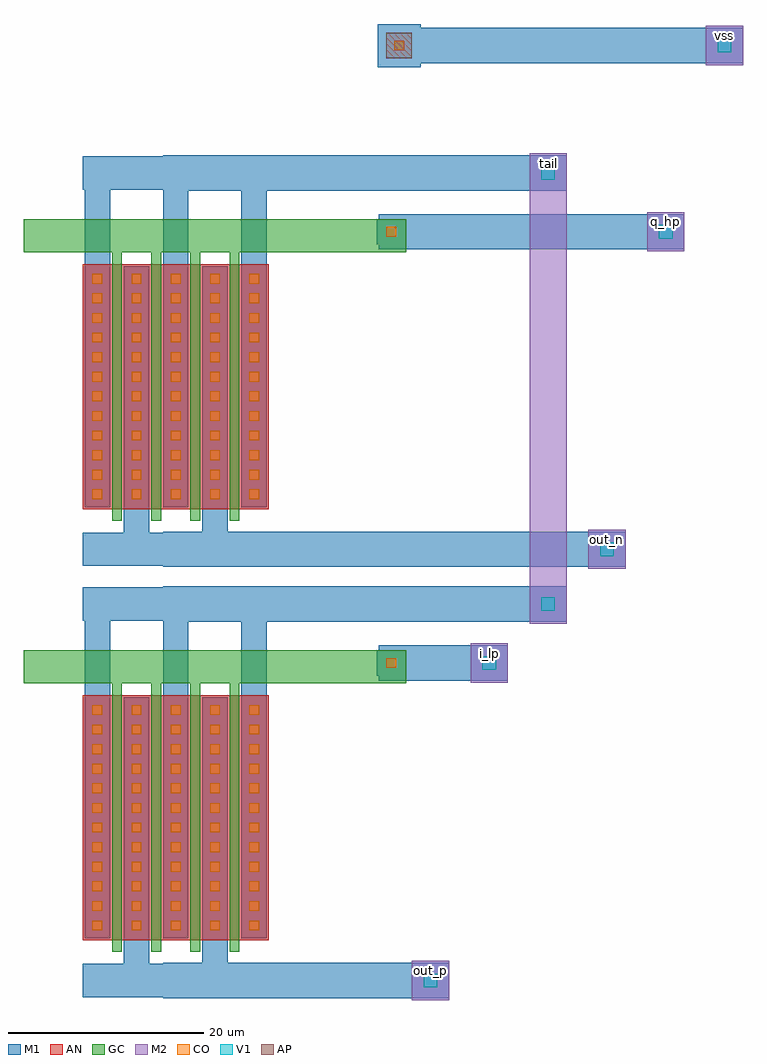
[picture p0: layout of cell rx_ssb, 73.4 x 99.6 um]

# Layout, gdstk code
import gdstk
lib = gdstk.Library(unit=1e-6, precision=1e-09)
def R(c, l, rs):  # rectangles x0, y0, x1, y1
    for r in rs: c.add(gdstk.rectangle(r[:2], r[2:], *l))
def A(c, l, x, y, w, h, nx, ny, dx, dy):  # array of equal rectangles
    R(c, l, [(x+i*dx, y+j*dy, x+i*dx+w, y+j*dy+h) for i in range(nx) for j in range(ny)])
AP = (3, 1)
AN = (3, 2)
GC = (8, 1)
CO = (11, 0)
M1 = (13, 0)
V1 = (19, 0)
M2 = (20, 0)

rx_ssb = lib.new_cell('rx_ssb')
R(rx_ssb, AP, [(34,90,36.6,92.6)])
R(rx_ssb, AN, [(3,0,22,25), (3,44,22,69)])
A(rx_ssb, GC, 6, -1.2, 1, 27.4, 4, 2, 4, 44)
R(rx_ssb, GC, [(-3,26.2,36,29.6), (-3,70.2,36,73.6)])
A(rx_ssb, CO, 4, 1, 1, 1, 5, 12, 4, 2)
A(rx_ssb, CO, 4, 45, 1, 1, 5, 12, 4, 2)
R(rx_ssb, CO, [(34,27.8,35,28.8), (34,71.8,35,72.8), (34.8,90.8,35.8,91.8)])
A(rx_ssb, M1, 3.2, 0.2, 2.6, 33.3, 3, 2, 8, 44)
R(rx_ssb, M1, [(11.2,-5.9,40.4,-2.3), (3,-5.8,22,-2.4), (7.2,-5.8,9.8,24.8), (15.2,-5.8,17.8,24.8), (33.2,26.5,46.4,30.1), (33,27,36,29.6), (11.2,32.5,52.4,36.1), (3,32.6,22,36), (11.2,38.1,58.4,41.7), (3,38.2,22,41.6), (7.2,38.2,9.8,68.8), (15.2,38.2,17.8,68.8), (33.2,70.5,64.4,74.1), (33,71,36,73.6), (11.2,76.5,52.4,80.1), (3,76.6,22,80), (33.1,89.1,37.5,93.5), (34,89.5,70.4,93.1)])
R(rx_ssb, V1, [(37.8,-4.8,39.2,-3.4), (43.8,27.6,45.2,29), (49.8,33.6,51.2,35), (55.8,39.2,57.2,40.6), (61.8,71.6,63.2,73), (49.8,77.6,51.2,79), (67.8,90.6,69.2,92)])
R(rx_ssb, M2, [(36.6,-6.1,40.4,-2.1), (42.6,26.3,46.4,30.3), (48.6,32.3,52.4,80.3), (54.6,37.9,58.4,41.9), (60.6,70.3,64.4,74.3), (66.6,89.3,70.4,93.3)])
rx_ssb.add(gdstk.Label('out_p', (38.5,-3.1), layer=49, texttype=0))
rx_ssb.add(gdstk.Label('out_n', (56.5,40.9), layer=49, texttype=0))
rx_ssb.add(gdstk.Label('i_lp', (44.5,29.3), layer=49, texttype=0))
rx_ssb.add(gdstk.Label('q_hp', (62.5,73.3), layer=49, texttype=0))
rx_ssb.add(gdstk.Label('tail', (50.5,79.3), layer=49, texttype=0))
rx_ssb.add(gdstk.Label('vss', (68.5,92.3), layer=49, texttype=0))

lib.write_gds('rx_ssb.gds')
